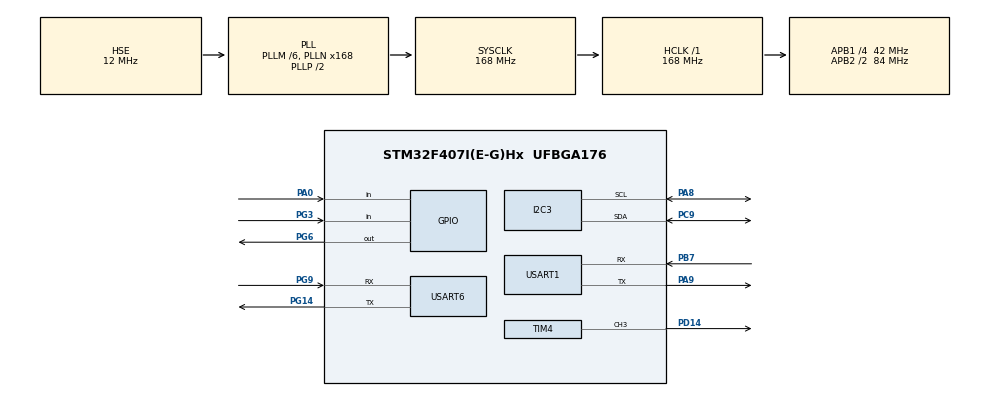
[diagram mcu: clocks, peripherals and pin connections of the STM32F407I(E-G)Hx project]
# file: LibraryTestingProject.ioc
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Dma.Request0=TIM4_CH3
Dma.Request1=USART6_RX
Dma.Request2=USART1_RX
Dma.TIM4_CH3.0.Direction=DMA_PERIPH_TO_MEMORY
Dma.TIM4_CH3.0.FIFOMode=DMA_FIFOMODE_DISABLE
Dma.TIM4_CH3.0.Instance=DMA1_Stream7
Dma.TIM4_CH3.0.MemDataAlignment=DMA_MDATAALIGN_HALFWORD
Dma.TIM4_CH3.0.MemInc=DMA_MINC_ENABLE
Dma.TIM4_CH3.0.Mode=DMA_NORMAL
Dma.TIM4_CH3.0.PeriphDataAlignment=DMA_PDATAALIGN_HALFWORD
Dma.TIM4_CH3.0.PeriphInc=DMA_PINC_DISABLE
Dma.TIM4_CH3.0.Priority=DMA_PRIORITY_LOW
Dma.USART1_RX.2.Direction=DMA_PERIPH_TO_MEMORY
Dma.USART1_RX.2.FIFOMode=DMA_FIFOMODE_DISABLE
Dma.USART1_RX.2.Instance=DMA2_Stream2
Dma.USART1_RX.2.MemDataAlignment=DMA_MDATAALIGN_BYTE
Dma.USART1_RX.2.MemInc=DMA_MINC_ENABLE
Dma.USART1_RX.2.Mode=DMA_NORMAL
Dma.USART1_RX.2.PeriphDataAlignment=DMA_PDATAALIGN_BYTE
Dma.USART1_RX.2.PeriphInc=DMA_PINC_DISABLE
Dma.USART1_RX.2.Priority=DMA_PRIORITY_LOW
Dma.USART6_RX.1.Direction=DMA_PERIPH_TO_MEMORY
Dma.USART6_RX.1.FIFOMode=DMA_FIFOMODE_DISABLE
Dma.USART6_RX.1.Instance=DMA2_Stream1
Dma.USART6_RX.1.MemDataAlignment=DMA_MDATAALIGN_BYTE
Dma.USART6_RX.1.MemInc=DMA_MINC_ENABLE
Dma.USART6_RX.1.Mode=DMA_NORMAL
Dma.USART6_RX.1.PeriphDataAlignment=DMA_PDATAALIGN_BYTE
Dma.USART6_RX.1.PeriphInc=DMA_PINC_DISABLE
Dma.USART6_RX.1.Priority=DMA_PRIORITY_LOW
FREERTOS.Tasks01=defaultTask,24,128,StartDefaultTask,Default,NULL,Dynamic,NULL,NULL;LibraryManager,32,128,StartLibraryManager,Default,NULL,Dynamic,NULL,NULL
I2C3.I2C_Mode=I2C_Fast
Mcu.Family=STM32F4
Mcu.Name=STM32F407I(E-G)Hx
Mcu.Package=UFBGA176
NVIC.DMA1_Stream7_IRQn=true\:5\:0\:false\:false\:true\:true\:false\:true\:true
NVIC.DMA2_Stream1_IRQn=true\:5\:0\:false\:false\:true\:true\:false\:true\:true
NVIC.DMA2_Stream2_IRQn=true\:5\:0\:false\:false\:true\:true\:false\:true\:true
NVIC.PriorityGroup=NVIC_PRIORITYGROUP_4
NVIC.USART1_IRQn=true\:5\:0\:false\:false\:true\:true\:true\:true\:true
NVIC.USART6_IRQn=true\:5\:0\:false\:false\:true\:true\:true\:true\:true
PA0-WKUP.Signal=GPIO_Input
PA8.GPIO_Pu=GPIO_PULLUP
PA8.Mode=I2C
PA8.Signal=I2C3_SCL
PA9.Mode=Asynchronous
PA9.Signal=USART1_TX
PB7.Mode=Asynchronous
PB7.Signal=USART1_RX
PC9.GPIO_Pu=GPIO_PULLUP
PC9.Mode=I2C
PC9.Signal=I2C3_SDA
PD14.Signal=S_TIM4_CH3
PG14.Mode=Asynchronous
PG14.Signal=USART6_TX
PG3.Signal=GPIO_Input
PG6.Signal=GPIO_Output
PG9.Mode=Asynchronous
PG9.Signal=USART6_RX
PH0-OSC_IN.Mode=HSE-External-Oscillator
PH0-OSC_IN.Signal=RCC_OSC_IN
PH1-OSC_OUT.Mode=HSE-External-Oscillator
PH1-OSC_OUT.Signal=RCC_OSC_OUT
ProjectManager.HeapSize=0x200
ProjectManager.StackSize=0x400
ProjectManager.TargetToolchain=STM32CubeIDE
RCC.48MHZClocksFreq_Value=84000000
RCC.AHBFreq_Value=168000000
RCC.APB1CLKDivider=RCC_HCLK_DIV4
RCC.APB1Freq_Value=42000000
RCC.APB1TimFreq_Value=84000000
RCC.APB2CLKDivider=RCC_HCLK_DIV2
RCC.APB2Freq_Value=84000000
RCC.APB2TimFreq_Value=168000000
RCC.CortexFreq_Value=168000000
RCC.HCLKFreq_Value=168000000
RCC.HSE_VALUE=12000000
RCC.HSI_VALUE=16000000
RCC.LSE_VALUE=32768
RCC.PLLM=6
RCC.PLLN=168
RCC.PLLSourceVirtual=RCC_PLLSOURCE_HSE
RCC.SYSCLKFreq_VALUE=168000000
RCC.SYSCLKSource=RCC_SYSCLKSOURCE_PLLCLK
RCC.VCOOutputFreq_Value=336000000
SH.S_TIM4_CH3.0=TIM4_CH3,PWM Generation3 CH3
TIM4.Channel-PWM\ Generation3\ CH3=TIM_CHANNEL_3
TIM4.Period=249
TIM4.Prescaler=83
USART1.VirtualMode=VM_ASYNC
USART6.VirtualMode=VM_ASYNC
VP_FREERTOS_VS_CMSIS_V2.Mode=CMSIS_V2
board=custom

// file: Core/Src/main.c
/* USER CODE BEGIN Header */
/**
  ******************************************************************************
  * @file           : main.c
  * @brief          : Main program body
  ******************************************************************************
  * @attention
  *
  * Copyright (c) 2025 STMicroelectronics.
  * All rights reserved.
  *
  * This software is licensed under terms that can be found in the LICENSE file
  * in the root directory of this software component.
  * If no LICENSE file comes with this software, it is provided AS-IS.
  *
  ******************************************************************************
  */
/* USER CODE END Header */
#include "main.h"
#include "cmsis_os.h"

/* USER CODE BEGIN Includes */
#include "IST8310.h"
#include "UART_RM25.h"
/* USER CODE END Includes */

I2C_HandleTypeDef hi2c3;

TIM_HandleTypeDef htim4;
DMA_HandleTypeDef hdma_tim4_ch3;

UART_HandleTypeDef huart1;
UART_HandleTypeDef huart6;
DMA_HandleTypeDef hdma_usart1_rx;
DMA_HandleTypeDef hdma_usart6_rx;

/* Definitions for defaultTask */
osThreadId_t defaultTaskHandle;
const osThreadAttr_t defaultTask_attributes = {
  .name = "defaultTask",
  .stack_size = 128 * 4,
  .priority = (osPriority_t) osPriorityNormal,
};
/* Definitions for LibraryManager */
osThreadId_t LibraryManagerHandle;
const osThreadAttr_t LibraryManager_attributes = {
  .name = "LibraryManager",
  .stack_size = 128 * 4,
  .priority = (osPriority_t) osPriorityAboveNormal,
};

void SystemClock_Config(void);
static void MX_GPIO_Init(void);
static void MX_DMA_Init(void);
static void MX_I2C3_Init(void);
static void MX_TIM4_Init(void);
static void MX_USART1_UART_Init(void);
static void MX_USART6_UART_Init(void);
void StartDefaultTask(void *argument);
void StartLibraryManager(void *argument);

int main(void)
{

  /* MCU Configuration--------------------------------------------------------*/

  /* Reset of all peripherals, Initializes the Flash interface and the Systick. */
  HAL_Init();

  /* Configure the system clock */
  SystemClock_Config();

  /* Initialize all configured peripherals */
  MX_GPIO_Init();
  MX_DMA_Init();
  MX_I2C3_Init();
  MX_TIM4_Init();
  MX_USART1_UART_Init();
  MX_USART6_UART_Init();
  /* USER CODE BEGIN 2 */

  IST8310_Init(&hi2c3);
  UART_Ex_Init(&huart1);
  UART_Ex_Init(&huart6);
  /* USER CODE END 2 */

  /* Init scheduler */
  osKernelInitialize();

  /* Create the thread(s) */
  /* creation of defaultTask */
  defaultTaskHandle = osThreadNew(StartDefaultTask, NULL, &defaultTask_attributes);

  /* creation of LibraryManager */
  LibraryManagerHandle = osThreadNew(StartLibraryManager, NULL, &LibraryManager_attributes);

  /* Start scheduler */
  osKernelStart();

  /* We should never get here as control is now taken by the scheduler */

  /* Infinite loop */
  while (1)
  {

  }
}

void SystemClock_Config(void)
{
  RCC_OscInitTypeDef RCC_OscInitStruct = {0};
  RCC_ClkInitTypeDef RCC_ClkInitStruct = {0};

  /** Configure the main internal regulator output voltage
  */
  __HAL_RCC_PWR_CLK_ENABLE();
  __HAL_PWR_VOLTAGESCALING_CONFIG(PWR_REGULATOR_VOLTAGE_SCALE1);

  /** Initializes the RCC Oscillators according to the specified parameters
  * in the RCC_OscInitTypeDef structure.
  */
  RCC_OscInitStruct.OscillatorType = RCC_OSCILLATORTYPE_HSE;
  RCC_OscInitStruct.HSEState = RCC_HSE_ON;
  RCC_OscInitStruct.PLL.PLLState = RCC_PLL_ON;
  RCC_OscInitStruct.PLL.PLLSource = RCC_PLLSOURCE_HSE;
  RCC_OscInitStruct.PLL.PLLM = 6;
  RCC_OscInitStruct.PLL.PLLN = 168;
  RCC_OscInitStruct.PLL.PLLP = RCC_PLLP_DIV2;
  RCC_OscInitStruct.PLL.PLLQ = 4;
  if (HAL_RCC_OscConfig(&RCC_OscInitStruct) != HAL_OK)
  {
    Error_Handler();
  }

  /** Initializes the CPU, AHB and APB buses clocks
  */
  RCC_ClkInitStruct.ClockType = RCC_CLOCKTYPE_HCLK|RCC_CLOCKTYPE_SYSCLK
                              |RCC_CLOCKTYPE_PCLK1|RCC_CLOCKTYPE_PCLK2;
  RCC_ClkInitStruct.SYSCLKSource = RCC_SYSCLKSOURCE_PLLCLK;
  RCC_ClkInitStruct.AHBCLKDivider = RCC_SYSCLK_DIV1;
  RCC_ClkInitStruct.APB1CLKDivider = RCC_HCLK_DIV4;
  RCC_ClkInitStruct.APB2CLKDivider = RCC_HCLK_DIV2;

  if (HAL_RCC_ClockConfig(&RCC_ClkInitStruct, FLASH_LATENCY_5) != HAL_OK)
  {
    Error_Handler();
  }
}

static void MX_I2C3_Init(void)
{

  hi2c3.Instance = I2C3;
  hi2c3.Init.ClockSpeed = 400000;
  hi2c3.Init.DutyCycle = I2C_DUTYCYCLE_2;
  hi2c3.Init.OwnAddress1 = 0;
  hi2c3.Init.AddressingMode = I2C_ADDRESSINGMODE_7BIT;
  hi2c3.Init.DualAddressMode = I2C_DUALADDRESS_DISABLE;
  hi2c3.Init.OwnAddress2 = 0;
  hi2c3.Init.GeneralCallMode = I2C_GENERALCALL_DISABLE;
  hi2c3.Init.NoStretchMode = I2C_NOSTRETCH_DISABLE;
  if (HAL_I2C_Init(&hi2c3) != HAL_OK)
  {
    Error_Handler();
  }

}

static void MX_TIM4_Init(void)
{

  TIM_MasterConfigTypeDef sMasterConfig = {0};
  TIM_OC_InitTypeDef sConfigOC = {0};

  htim4.Instance = TIM4;
  htim4.Init.Prescaler = 83;
  htim4.Init.CounterMode = TIM_COUNTERMODE_UP;
  htim4.Init.Period = 249;
  htim4.Init.ClockDivision = TIM_CLOCKDIVISION_DIV1;
  htim4.Init.AutoReloadPreload = TIM_AUTORELOAD_PRELOAD_DISABLE;
  if (HAL_TIM_PWM_Init(&htim4) != HAL_OK)
  {
    Error_Handler();
  }
  sMasterConfig.MasterOutputTrigger = TIM_TRGO_RESET;
  sMasterConfig.MasterSlaveMode = TIM_MASTERSLAVEMODE_DISABLE;
  if (HAL_TIMEx_MasterConfigSynchronization(&htim4, &sMasterConfig) != HAL_OK)
  {
    Error_Handler();
  }
  sConfigOC.OCMode = TIM_OCMODE_PWM1;
  sConfigOC.Pulse = 0;
  sConfigOC.OCPolarity = TIM_OCPOLARITY_HIGH;
  sConfigOC.OCFastMode = TIM_OCFAST_DISABLE;
  if (HAL_TIM_PWM_ConfigChannel(&htim4, &sConfigOC, TIM_CHANNEL_3) != HAL_OK)
  {
    Error_Handler();
  }
  HAL_TIM_MspPostInit(&htim4);

}

static void MX_USART1_UART_Init(void)
{

  huart1.Instance = USART1;
  huart1.Init.BaudRate = 115200;
  huart1.Init.WordLength = UART_WORDLENGTH_8B;
  huart1.Init.StopBits = UART_STOPBITS_1;
  huart1.Init.Parity = UART_PARITY_NONE;
  huart1.Init.Mode = UART_MODE_TX_RX;
  huart1.Init.HwFlowCtl = UART_HWCONTROL_NONE;
  huart1.Init.OverSampling = UART_OVERSAMPLING_16;
  if (HAL_UART_Init(&huart1) != HAL_OK)
  {
    Error_Handler();
  }

}

static void MX_USART6_UART_Init(void)
{

  huart6.Instance = USART6;
  huart6.Init.BaudRate = 115200;
  huart6.Init.WordLength = UART_WORDLENGTH_8B;
  huart6.Init.StopBits = UART_STOPBITS_1;
  huart6.Init.Parity = UART_PARITY_NONE;
  huart6.Init.Mode = UART_MODE_TX_RX;
  huart6.Init.HwFlowCtl = UART_HWCONTROL_NONE;
  huart6.Init.OverSampling = UART_OVERSAMPLING_16;
  if (HAL_UART_Init(&huart6) != HAL_OK)
  {
    Error_Handler();
  }

}

static void MX_DMA_Init(void)
{

  /* DMA controller clock enable */
  __HAL_RCC_DMA1_CLK_ENABLE();
  __HAL_RCC_DMA2_CLK_ENABLE();

  /* DMA interrupt init */
  /* DMA1_Stream7_IRQn interrupt configuration */
  HAL_NVIC_SetPriority(DMA1_Stream7_IRQn, 5, 0);
  HAL_NVIC_EnableIRQ(DMA1_Stream7_IRQn);
  /* DMA2_Stream1_IRQn interrupt configuration */
  HAL_NVIC_SetPriority(DMA2_Stream1_IRQn, 5, 0);
  HAL_NVIC_EnableIRQ(DMA2_Stream1_IRQn);
  /* DMA2_Stream2_IRQn interrupt configuration */
  HAL_NVIC_SetPriority(DMA2_Stream2_IRQn, 5, 0);
  HAL_NVIC_EnableIRQ(DMA2_Stream2_IRQn);

}

static void MX_GPIO_Init(void)
{
  GPIO_InitTypeDef GPIO_InitStruct = {0};

  /* GPIO Ports Clock Enable */
  __HAL_RCC_GPIOG_CLK_ENABLE();
  __HAL_RCC_GPIOB_CLK_ENABLE();
  __HAL_RCC_GPIOA_CLK_ENABLE();
  __HAL_RCC_GPIOC_CLK_ENABLE();
  __HAL_RCC_GPIOH_CLK_ENABLE();
  __HAL_RCC_GPIOD_CLK_ENABLE();

  /*Configure GPIO pin Output Level */
  HAL_GPIO_WritePin(GPIOG, GPIO_PIN_6, GPIO_PIN_RESET);

  /*Configure GPIO pin : PG6 */
  GPIO_InitStruct.Pin = GPIO_PIN_6;
  GPIO_InitStruct.Mode = GPIO_MODE_OUTPUT_PP;
  GPIO_InitStruct.Pull = GPIO_NOPULL;
  GPIO_InitStruct.Speed = GPIO_SPEED_FREQ_LOW;
  HAL_GPIO_Init(GPIOG, &GPIO_InitStruct);

  /*Configure GPIO pin : PG3 */
  GPIO_InitStruct.Pin = GPIO_PIN_3;
  GPIO_InitStruct.Mode = GPIO_MODE_INPUT;
  GPIO_InitStruct.Pull = GPIO_NOPULL;
  HAL_GPIO_Init(GPIOG, &GPIO_InitStruct);

  /*Configure GPIO pin : PA0 */
  GPIO_InitStruct.Pin = GPIO_PIN_0;
  GPIO_InitStruct.Mode = GPIO_MODE_INPUT;
  GPIO_InitStruct.Pull = GPIO_NOPULL;
  HAL_GPIO_Init(GPIOA, &GPIO_InitStruct);

}

void StartDefaultTask(void *argument)
{
  /* USER CODE BEGIN 5 */
	HAL_TIM_Base_Start(&htim4);
	const float buzzerPre = 0.000001;
	uint8_t toggleRising = 0;
	uint8_t toggleBoi = 0;

  /* Infinite loop */
  for(;;)
  {

	  int32_t ScaledMag = (2*getIST8310_X())+1000;

	  if (ScaledMag <0) {
		  ScaledMag = 0;
	  }
	  uint16_t fV = (uint16_t)(ScaledMag);
	  // uint16_t fV = 440;

		uint32_t finalVal = (uint32_t)(1/(buzzerPre*(float)fV));;

		htim4.Instance->ARR = finalVal;

	  uint32_t value = finalVal * 0.02;// (uint32_t)val;

	  htim4.Instance->CCR3=value;
	  if (HAL_GPIO_ReadPin(GPIOA, GPIO_PIN_0) == 1 && toggleRising == 0) {
		  toggleBoi = !toggleBoi;
		  toggleRising = 1;
	  }

	  if (HAL_GPIO_ReadPin(GPIOA, GPIO_PIN_0) == 0 && toggleRising == 1) {
		  toggleRising = 0;
	  }

	  if (toggleBoi == 0) {
	  HAL_TIM_PWM_Start(&htim4, TIM_CHANNEL_3);
	  } else {
		  HAL_TIM_PWM_Stop(&htim4, TIM_CHANNEL_3);
	  }

	  // UART_Printf()
	  UART_Printf(&huart1, "%d %d %d\r\n", getIST8310_X(), getIST8310_Y(), getIST8310_Z());

    osDelay(1);
  }
  /* USER CODE END 5 */
}

void StartLibraryManager(void *argument)
{
  /* USER CODE BEGIN StartLibraryManager */
  /* Infinite loop */
  for(;;)
  {

	  IST8310_Update();
    osDelay(1);

  }
  /* USER CODE END StartLibraryManager */
}

void Error_Handler(void)
{
  __disable_irq();
  while (1)
  {
  }
}
